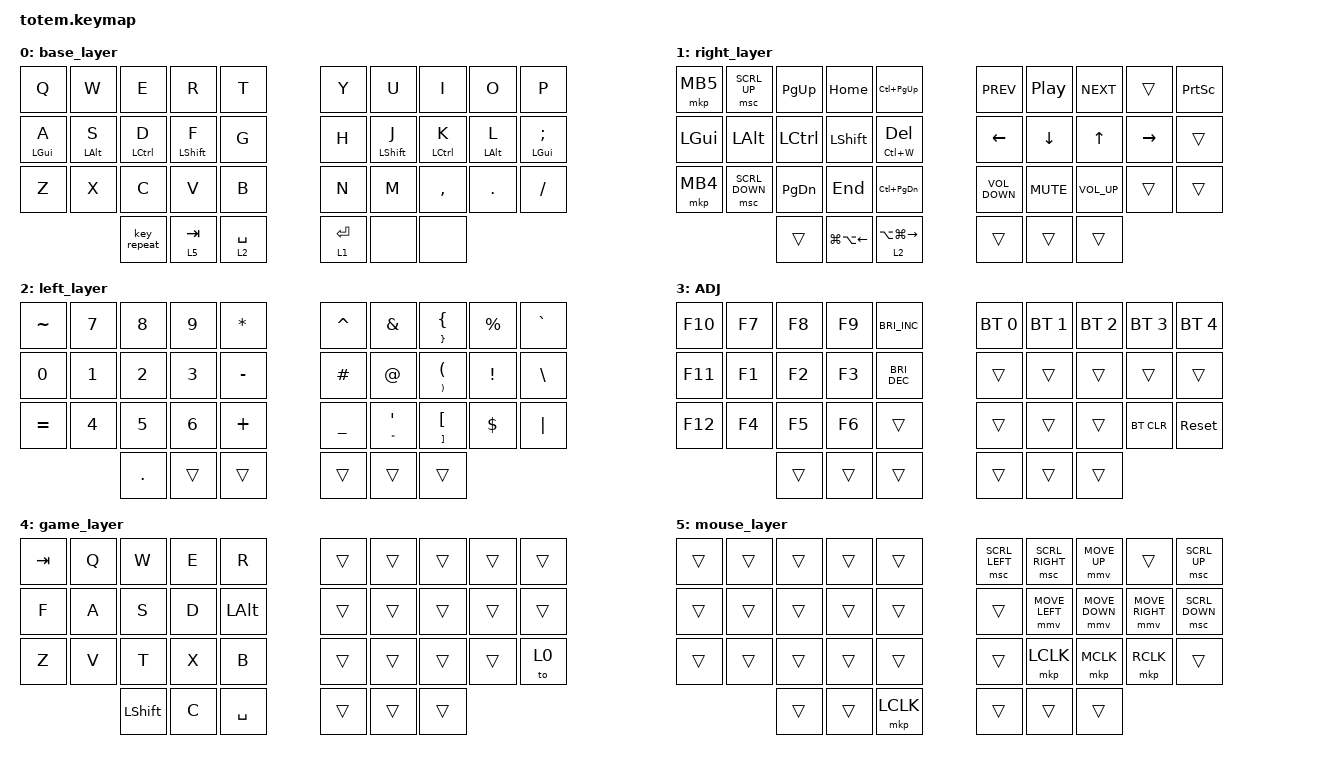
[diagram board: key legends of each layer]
//
//                                                        ▀▀▀▀▀     ▀▀▀▀▀          ▀▀█▀▀
//                                                        ▄▀▀▀▄  ▄  ▄▀▀▀▄  ▄  ▄▀▀▀▄  █  ▄▀▀▀▄
//                                                        █   █  █  █   █  █  █   █  █  █   █
//                                                         ▀▀▀   █   ▀▀▀   █   ▀▀▀   ▀   ▀▀▀
//                                                               █      ▄▄▄█▄▄▄    █   █  
//                                                               ▀      █  █  █     █▄█
//                                                             ▀▀▀▀▀    █  █  █      ▀
//                                                                      ▀  ▀  ▀
//
// ▄▄▄▄▄▄▄▄▄▄▄▄▄▄▄▄▄▄▄▄▄▄▄▄▄▄▄▄▄▄▄▄▄▄▄▄▄▄▄▄▄▄▄▄▄▄▄▄▄▄▄▄▄▄▄▄▄▄▄▄▄▄▄▄▄▄▄▄▄▄▄▄▄▄▄▄▄▄▄▄▄▄▄▄▄▄▄▄▄▄▄▄▄▄▄▄▄▄▄▄▄▄▄▄▄▄▄▄▄▄▄▄▄▄▄▄▄▄▄▄▄▄▄▄▄▄▄▄▄▄▄▄▄▄▄▄▄▄▄▄▄▄▄▄▄▄▄▄▄

#include <dt-bindings/zmk/mouse.h>
#include <behaviors.dtsi>
#include <dt-bindings/zmk/bt.h>
#include <dt-bindings/zmk/keys.h>
#include <dt-bindings/zmk/pointing.h>

&mt {
    quick-tap-ms = <100>;
    global-quick-tap;
    flavor = "tap-preferred";
    tapping-term-ms = <170>;
};

/ {
    behaviors {
        ht: hold_tap {
            compatible = "zmk,behavior-hold-tap";
            #binding-cells = <2>;
            flavor = "tap-preferred";
            tapping-term-ms = <220>;
            quick-tap-ms = <150>;
            require-prior-idle-ms = <100>;
            bindings = <&kp>, <&kp>;
        };

        htShift: htShift {
            compatible = "zmk,behavior-hold-tap";
            #binding-cells = <2>;
            flavor = "balanced";
            tapping-term-ms = <220>;
            quick-tap-ms = <150>;
            require-prior-idle-ms = <100>;
            bindings = <&kp>, <&kp>;

            label = "HTSHIFT";
        };

        HMShiftR: HMShiftR {
            compatible = "zmk,behavior-hold-tap";
            label = "HMSHIFTR";
            #binding-cells = <2>;
            bindings = <&kp>, <&kp>;

            tapping-term-ms = <200>;
            hold-trigger-key-positions = <0 1 2 3 4 10 11 12 13 14 20 21 22 23 24 30 31 32>;
            hold-trigger-on-release;
        };

        HMShiftL: HMShiftL {
            compatible = "zmk,behavior-hold-tap";
            label = "HMSHIFTL";
            #binding-cells = <2>;
            bindings = <&kp>, <&kp>;

            tapping-term-ms = <200>;
            hold-trigger-on-release;
            hold-trigger-key-positions = <5 6 7 8 9 15 16 17 18 19 25 26 27 28 29 33 34 35>;
        };

        HMR: HMR {
            compatible = "zmk,behavior-hold-tap";
            label = "HMR";
            #binding-cells = <2>;
            bindings = <&kp>, <&kp>;

            tapping-term-ms = <200>;
            hold-trigger-key-positions = <0 1 2 3 4 10 11 12 13 14 20 21 22 23 24 30 31 32>;
            hold-trigger-on-release;
            flavor = "tap-preferred";
        };

        HML: HML {
            compatible = "zmk,behavior-hold-tap";
            label = "HML";
            #binding-cells = <2>;
            bindings = <&kp>, <&kp>;

            tapping-term-ms = <200>;
            hold-trigger-on-release;
            hold-trigger-key-positions = <5 6 7 8 9 15 16 17 18 19 25 26 27 28 29 33 34 35 32>;
            flavor = "tap-preferred";
        };
    };

    conditional_layers {
        compatible = "zmk,conditional-layers";

        layer_3 {
            if-layers = <2 1>;
            then-layer = <3>;
        };
    };

    combos {
        compatible = "zmk,combos";

        escape {
            bindings = <&kp ESCAPE>;
            key-positions = <2 3>;
        };

        backspace {
            bindings = <&kp BACKSPACE>;
            key-positions = <6 7>;
        };

        game_layer {
            bindings = <&to 4>;
            key-positions = <24 25>;
        };
    };

    keymap {
        compatible = "zmk,keymap";

        // ▄▄▄▄▄▄▄▄▄▄▄▄▄▄▄▄▄▄▄▄▄▄▄▄▄▄▄▄▄▄▄▄▄▄▄▄▄▄▄▄▄▄▄▄▄▄▄▄▄▄▄▄▄▄▄▄▄▄▄▄▄▄▄▄▄▄▄▄▄▄▄▄▄▄▄▄▄▄▄▄▄▄▄▄▄▄▄▄▄▄▄▄▄▄▄▄▄▄▄▄▄▄▄▄▄▄▄▄▄▄▄▄▄▄▄▄▄▄▄▄▄▄▄▄▄▄▄▄▄▄▄▄▄▄▄▄▄▄▄▄▄▄▄▄▄▄▄▄▄

        base_layer {
            // ┏━━━━━━━━━━━━━━━━━━━━━━━━━━━━━━━━━━━━━━━┓
            // ┗━━━━━━━━━━━━━━━━━━━━━━━━━━━━━━━━━━━━━━━┛
            //             ┏━━━━━━━━━━━┳━━━━━━━━━━━┳━━━━━━━━━━━┳━━━━━━━━━━━┳━━━━━━━━━━━┓   ┏━━━━━━━━━━━┳━━━━━━━━━━━┳━━━━━━━━━━━┳━━━━━━━━━━━┳━━━━━━━━━━━┓
            //             ┃     Q     ┃     W     ┃     F     ┃     P     ┃     G     ┃   ┃     J     ┃     L     ┃     U     ┃     Y     ┃     ;     ┃
            //             ┣━━━━━━━━━━━╋━━━━━━━━━━━╋━━━━━━━━━━━╋━━━━━━━━━━━╋━━━━━━━━━━━┫   ┣━━━━━━━━━━━╋━━━━━━━━━━━╋━━━━━━━━━━━╋━━━━━━━━━━━╋━━━━━━━━━━━┫
            //             ┃     A     ┃     R     ┃     S     ┃     T     ┃     D     ┃   ┃     H     ┃     N     ┃     E     ┃     I     ┃     O     ┃
            //             ┏━━━━━━━━━━━╋━━━━━━━━━━━╋━━━━━━━━━━━╋━━━━━━━━━━━╋━━━━━━━━━━━┫   ┣━━━━━━━━━━━╋━━━━━━━━━━━╋━━━━━━━━━━━╋━━━━━━━━━━━╋━━━━━━━━━━━╋
            //             ┃     Z     ┃     X     ┃     C     ┃     V     ┃     B     ┃   ┃     K     ┃     M     ┃     ,     ┃     .     ┃     /     ┃   
            //             ┗━━━━━━━━━━━┻━━━━━━━━━━━╋━━━━━━━━━━━╋━━━━━━━━━━━╋━━━━━━━━━━━┫   ┣━━━━━━━━━━━╋━━━━━━━━━━━╋━━━━━━━━━━━╋━━━━━━━━━━━┻━━━━━━━━━━━┛
            //                                     ┃    DEL    ┃    TAB    ┃    SPC    ┃   ┃   ENTER   ┃           ┃   BSPC    ┃
            //                                     ┗━━━━━━━━━━━┻━━━━━━━━━━━┻━━━━━━━━━━━┛   ┗━━━━━━━━━━━┻━━━━━━━━━━━┻━━━━━━━━━━━┛

            bindings = <
  &kp Q            &kp W            &kp E                &kp R                   &kp T          &kp Y        &kp U                   &kp I                &kp O            &kp P
  &HML LEFT_GUI A  &HML LEFT_ALT S  &HML LEFT_CONTROL D  &HMShiftL LEFT_SHIFT F  &kp G          &kp H        &HMShiftR LEFT_SHIFT J  &HMR LEFT_CONTROL K  &HMR LEFT_ALT L  &HMR LEFT_GUI SEMICOLON
  &kp Z            &kp X            &kp C                &kp V                   &kp B          &kp N        &kp M                   &kp COMMA            &kp DOT          &kp FSLH
                                    &key_repeat          &lt 5 TAB               &lt 2 SPACE    &lt 1 ENTER  &none                   &none
            >;
        };

        // ▄▄▄▄▄▄▄▄▄▄▄▄▄▄▄▄▄▄▄▄▄▄▄▄▄▄▄▄▄▄▄▄▄▄▄▄▄▄▄▄▄▄▄▄▄▄▄▄▄▄▄▄▄▄▄▄▄▄▄▄▄▄▄▄▄▄▄▄▄▄▄▄▄▄▄▄▄▄▄▄▄▄▄▄▄▄▄▄▄▄▄▄▄▄▄▄▄▄▄▄▄▄▄▄▄▄▄▄▄▄▄▄▄▄▄▄▄▄▄▄▄▄▄▄▄▄▄▄▄▄▄▄▄▄▄▄▄▄▄▄▄▄▄▄▄▄▄▄▄

        right_layer {
            // ┏━━━━━━━━━━━━━━━━━━━━━━━━━━━━━━━━━━━━━━━┓
            // ┗━━━━━━━━━━━━━━━━━━━━━━━━━━━━━━━━━━━━━━━┛
            //             ┏━━━━━━━━━━━┳━━━━━━━━━━━┳━━━━━━━━━━━┳━━━━━━━━━━━┳━━━━━━━━━━━┓   ┏━━━━━━━━━━━┳━━━━━━━━━━━┳━━━━━━━━━━━┳━━━━━━━━━━━┳━━━━━━━━━━━┓
            //             ┃           ┃           ┃     UP    ┃           ┃     {     ┃   ┃     }     ┃     7     ┃     8     ┃     9     ┃     +     ┃
            //             ┣━━━━━━━━━━━╋━━━━━━━━━━━╋━━━━━━━━━━━╋━━━━━━━━━━━╋━━━━━━━━━━━┫   ┣━━━━━━━━━━━╋━━━━━━━━━━━╋━━━━━━━━━━━╋━━━━━━━━━━━╋━━━━━━━━━━━┫
            //             ┃   SHIFT   ┃   LEFT    ┃    DOWN   ┃   RIGHT   ┃     [     ┃   ┃     ]     ┃     4     ┃     5     ┃     6     ┃     -     ┃
            //             ╋━━━━━━━━━━━╋━━━━━━━━━━━╋━━━━━━━━━━━╋━━━━━━━━━━━╋━━━━━━━━━━━┫   ┣━━━━━━━━━━━╋━━━━━━━━━━━╋━━━━━━━━━━━╋━━━━━━━━━━━╋━━━━━━━━━━━╋
            //             ┃           ┃   P UP    ┃  C LOCK   ┃  P DOWN   ┃     (     ┃   ┃     )     ┃     1     ┃     2     ┃     3     ┃     *     ┃           
            //             ┗━━━━━━━━━━━┻━━━━━━━━━━━╋━━━━━━━━━━━╋━━━━━━━━━━━╋━━━━━━━━━━━┫   ┣━━━━━━━━━━━╋━━━━━━━━━━━╋━━━━━━━━━━━╋━━━━━━━━━━━┻━━━━━━━━━━━┛
            //                                     ┃           ┃    TAB    ┃    SPC    ┃   ┃    DEL    ┃     0     ┃           ┃
            //                                     ┗━━━━━━━━━━━┻━━━━━━━━━━━┻━━━━━━━━━━━┛   ┗━━━━━━━━━━━┻━━━━━━━━━━━┻━━━━━━━━━━━┛

            bindings = <
  &mkp MB5  &msc SCRL_UP    &kp PAGE_UP    &kp HOME                &kp LC(PAGE_UP)        &kp C_PREV         &kp C_PLAY_PAUSE  &kp C_NEXT       &trans     &kp PRINTSCREEN
  &kp LGUI  &kp LALT        &kp LCTRL      &kp LSHFT               &mt LC(W) DELETE       &kp LEFT           &kp DOWN          &kp UP           &kp RIGHT  &trans
  &mkp MB4  &msc SCRL_DOWN  &kp PAGE_DOWN  &kp END                 &kp LC(PAGE_DOWN)      &kp C_VOLUME_DOWN  &kp K_MUTE        &kp C_VOLUME_UP  &trans     &trans
                            &trans         &kp LG(LA(LEFT_ARROW))  &lt 2 LA(LG(RIGHT))    &trans             &trans            &trans
            >;
        };

        // ▄▄▄▄▄▄▄▄▄▄▄▄▄▄▄▄▄▄▄▄▄▄▄▄▄▄▄▄▄▄▄▄▄▄▄▄▄▄▄▄▄▄▄▄▄▄▄▄▄▄▄▄▄▄▄▄▄▄▄▄▄▄▄▄▄▄▄▄▄▄▄▄▄▄▄▄▄▄▄▄▄▄▄▄▄▄▄▄▄▄▄▄▄▄▄▄▄▄▄▄▄▄▄▄▄▄▄▄▄▄▄▄▄▄▄▄▄▄▄▄▄▄▄▄▄▄▄▄▄▄▄▄▄▄▄▄▄▄▄▄▄▄▄▄▄▄▄▄▄

        left_layer {
            // ┏━━━━━━━━━━━━━━━━━━━━━━━━━━━━━━━━━━━━━━━┓
            // ┗━━━━━━━━━━━━━━━━━━━━━━━━━━━━━━━━━━━━━━━┛
            //             ┏━━━━━━━━━━━┳━━━━━━━━━━━┳━━━━━━━━━━━┳━━━━━━━━━━━┳━━━━━━━━━━━┓   ┏━━━━━━━━━━━┳━━━━━━━━━━━┳━━━━━━━━━━━┳━━━━━━━━━━━┳━━━━━━━━━━━┓
            //             ┃     !     ┃     @     ┃     #     ┃     $     ┃     %     ┃   ┃     ˆ     ┃     &     ┃     Ü     ┃     '     ┃     "     ┃
            //             ┣━━━━━━━━━━━╋━━━━━━━━━━━╋━━━━━━━━━━━╋━━━━━━━━━━━╋━━━━━━━━━━━┫   ┣━━━━━━━━━━━╋━━━━━━━━━━━╋━━━━━━━━━━━╋━━━━━━━━━━━╋━━━━━━━━━━━┫
            //             ┃     Ä     ┃           ┃    SZ     ┃           ┃           ┃   ┃   MUTE    ┃   YEN     ┃   EURO    ┃  POUND    ┃     Ö     ┃
            //             ╋━━━━━━━━━━━╋━━━━━━━━━━━╋━━━━━━━━━━━╋━━━━━━━━━━━╋━━━━━━━━━━━┫   ┣━━━━━━━━━━━╋━━━━━━━━━━━╋━━━━━━━━━━━╋━━━━━━━━━━━╋━━━━━━━━━━━╋
            //             ┃  EMAIL1   ┃  EMAIL2   ┃           ┃           ┃           ┃   ┃   VOL-    ┃   VOL+    ┃   LAST    ┃   NEXT    ┃     \     ┃           
            //             ┗━━━━━━━━━━━┻━━━━━━━━━━━╋━━━━━━━━━━━╋━━━━━━━━━━━╋━━━━━━━━━━━┫   ┣━━━━━━━━━━━╋━━━━━━━━━━━╋━━━━━━━━━━━╋━━━━━━━━━━━┻━━━━━━━━━━━┛
            //                                     ┃           ┃    GIF    ┃    ADJ    ┃   ┃           ┃           ┃           ┃
            //                                     ┗━━━━━━━━━━━┻━━━━━━━━━━━┻━━━━━━━━━━━┛   ┗━━━━━━━━━━━┻━━━━━━━━━━━┻━━━━━━━━━━━┛

            bindings = <
  &kp TILDE  &kp N7  &kp N8   &kp N9  &kp STAR     &kp CARET       &kp AMPERSAND                 &mt RIGHT_BRACE LEFT_BRACE              &kp PERCENT      &kp GRAVE
  &kp N0     &kp N1  &kp N2   &kp N3  &kp MINUS    &kp POUND       &kp AT_SIGN                   &mt RIGHT_PARENTHESIS LEFT_PARENTHESIS  &kp EXCLAMATION  &kp BACKSLASH
  &kp EQUAL  &kp N4  &kp N5   &kp N6  &kp PLUS     &kp UNDERSCORE  &mt DOUBLE_QUOTES APOSTROPHE  &mt RIGHT_BRACKET LEFT_BRACKET          &kp DOLLAR       &kp PIPE
                     &kp DOT  &trans  &trans       &trans          &trans                        &trans
            >;
        };

        // ▄▄▄▄▄▄▄▄▄▄▄▄▄▄▄▄▄▄▄▄▄▄▄▄▄▄▄▄▄▄▄▄▄▄▄▄▄▄▄▄▄▄▄▄▄▄▄▄▄▄▄▄▄▄▄▄▄▄▄▄▄▄▄▄▄▄▄▄▄▄▄▄▄▄▄▄▄▄▄▄▄▄▄▄▄▄▄▄▄▄▄▄▄▄▄▄▄▄▄▄▄▄▄▄▄▄▄▄▄▄▄▄▄▄▄▄▄▄▄▄▄▄▄▄▄▄▄▄▄▄▄▄▄▄▄▄▄▄▄▄▄▄▄▄▄▄▄▄▄

        tri_layer {
            // ┏━━━━━━━━━━━━━━━━━━━━━━━━━━━━━━━━━━━━━━━┓

            label = "ADJ";

            // ┗━━━━━━━━━━━━━━━━━━━━━━━━━━━━━━━━━━━━━━━┛
            //             ┏━━━━━━━━━━━┳━━━━━━━━━━━┳━━━━━━━━━━━┳━━━━━━━━━━━┳━━━━━━━━━━━┓   ┏━━━━━━━━━━━┳━━━━━━━━━━━┳━━━━━━━━━━━┳━━━━━━━━━━━┳━━━━━━━━━━━┓
            //             ┃   RESET   ┃ BT CLEAR  ┃  OUT TOG  ┃           ┃           ┃   ┃           ┃    F7     ┃    F8     ┃    F9     ┃    F12    ┃
            //             ┣━━━━━━━━━━━╋━━━━━━━━━━━╋━━━━━━━━━━━╋━━━━━━━━━━━╋━━━━━━━━━━━┫   ┣━━━━━━━━━━━╋━━━━━━━━━━━╋━━━━━━━━━━━╋━━━━━━━━━━━╋━━━━━━━━━━━┫
            //             ┃ BOOTLOAD  ┃ BT NEXT   ┃           ┃           ┃           ┃   ┃           ┃    F4     ┃    F5     ┃    F6     ┃    F11    ┃
            //             ╋━━━━━━━━━━━╋━━━━━━━━━━━╋━━━━━━━━━━━╋━━━━━━━━━━━╋━━━━━━━━━━━┫   ┣━━━━━━━━━━━╋━━━━━━━━━━━╋━━━━━━━━━━━╋━━━━━━━━━━━╋━━━━━━━━━━━╋
            //             ┃           ┃ BT PREV   ┃           ┃           ┃           ┃   ┃           ┃    F1     ┃    F2     ┃    F3     ┃    F10    ┃           
            //             ┗━━━━━━━━━━━┻━━━━━━━━━━━╋━━━━━━━━━━━╋━━━━━━━━━━━╋━━━━━━━━━━━┫   ┣━━━━━━━━━━━╋━━━━━━━━━━━╋━━━━━━━━━━━╋━━━━━━━━━━━┻━━━━━━━━━━━┛
            //                                     ┃           ┃           ┃           ┃   ┃           ┃           ┃           ┃
            //                                     ┗━━━━━━━━━━━┻━━━━━━━━━━━┻━━━━━━━━━━━┛   ┗━━━━━━━━━━━┻━━━━━━━━━━━┻━━━━━━━━━━━┛

            bindings = <
  &kp F10  &kp F7  &kp F8  &kp F9  &kp C_BRIGHTNESS_INC    &bt BT_SEL 0  &bt BT_SEL 1  &bt BT_SEL 2  &bt BT_SEL 3  &bt BT_SEL 4
  &kp F11  &kp F1  &kp F2  &kp F3  &kp C_BRIGHTNESS_DEC    &trans        &trans        &trans        &trans        &trans
  &kp F12  &kp F4  &kp F5  &kp F6  &trans                  &trans        &trans        &trans        &bt BT_CLR    &sys_reset
                   &trans  &trans  &trans                  &trans        &trans        &trans
            >;
        };

        // ▄▄▄▄▄▄▄▄▄▄▄▄▄▄▄▄▄▄▄▄▄▄▄▄▄▄▄▄▄▄▄▄▄▄▄▄▄▄▄▄▄▄▄▄▄▄▄▄▄▄▄▄▄▄▄▄▄▄▄▄▄▄▄▄▄▄▄▄▄▄▄▄▄▄▄▄▄▄▄▄▄▄▄▄▄▄▄▄▄▄▄▄▄▄▄▄▄▄▄▄▄▄▄▄▄▄▄▄▄▄▄▄▄▄▄▄▄▄▄▄▄▄▄▄▄▄▄▄▄▄▄▄▄▄▄▄▄▄▄▄▄▄▄▄▄▄▄▄▄

        game_layer {
            // ┏━━━━━━━━━━━━━━━━━━━━━━━━━━━━━━━━━━━━━━━┓
            // ┗━━━━━━━━━━━━━━━━━━━━━━━━━━━━━━━━━━━━━━━┛
            //             ┏━━━━━━━━━━━┳━━━━━━━━━━━┳━━━━━━━━━━━┳━━━━━━━━━━━┳━━━━━━━━━━━┓   ┏━━━━━━━━━━━┳━━━━━━━━━━━┳━━━━━━━━━━━┳━━━━━━━━━━━┳━━━━━━━━━━━┓
            //             ┃ NEXT FILE ┃ MARK IN   ┃ ROTATE    ┃ MARK OUT  ┃ SHOW SNAP ┃   ┃           ┃           ┃           ┃           ┃           ┃
            //             ┣━━━━━━━━━━━╋━━━━━━━━━━━╋━━━━━━━━━━━╋━━━━━━━━━━━╋━━━━━━━━━━━┫   ┣━━━━━━━━━━━╋━━━━━━━━━━━╋━━━━━━━━━━━╋━━━━━━━━━━━╋━━━━━━━━━━━┫
            //             ┃ TVP II    ┃ LEFT      ┃ PAN       ┃ RIGHT     ┃ PLAY/FLIP ┃   ┃           ┃           ┃           ┃           ┃           ┃
            //             ╋━━━━━━━━━━━╋━━━━━━━━━━━╋━━━━━━━━━━━╋━━━━━━━━━━━╋━━━━━━━━━━━┫   ┣━━━━━━━━━━━╋━━━━━━━━━━━╋━━━━━━━━━━━╋━━━━━━━━━━━╋━━━━━━━━━━━╋
            //             ┃ SHIFT     ┃ COPY      ┃ DELETE    ┃ PASTE     ┃ IMG MARK  ┃   ┃           ┃           ┃           ┃           ┃           ┃     
            //             ┗━━━━━━━━━━━┻━━━━━━━━━━━╋━━━━━━━━━━━╋━━━━━━━━━━━╋━━━━━━━━━━━┫   ┣━━━━━━━━━━━╋━━━━━━━━━━━╋━━━━━━━━━━━╋━━━━━━━━━━━┻━━━━━━━━━━━┛
            //                                     ┃           ┃ UNDO/SAVE ┃  SEL/MOV  ┃   ┃           ┃           ┃           ┃
            //                                     ┗━━━━━━━━━━━┻━━━━━━━━━━━┻━━━━━━━━━━━┛   ┗━━━━━━━━━━━┻━━━━━━━━━━━┻━━━━━━━━━━━┛

            bindings = <
  &kp TAB  &kp Q  &kp W           &kp E  &kp R           &trans  &trans  &trans  &trans  &trans
  &kp F    &kp A  &kp S           &kp D  &kp LEFT_ALT    &trans  &trans  &trans  &trans  &trans
  &kp Z    &kp V  &kp T           &kp X  &kp B           &trans  &trans  &trans  &trans  &to 0
                  &kp LEFT_SHIFT  &kp C  &kp SPACE       &trans  &trans  &trans
            >;
        };

        // ▄▄▄▄▄▄▄▄▄▄▄▄▄▄▄▄▄▄▄▄▄▄▄▄▄▄▄▄▄▄▄▄▄▄▄▄▄▄▄▄▄▄▄▄▄▄▄▄▄▄▄▄▄▄▄▄▄▄▄▄▄▄▄▄▄▄▄▄▄▄▄▄▄▄▄▄▄▄▄▄▄▄▄▄▄▄▄▄▄▄▄▄▄▄▄▄▄▄▄▄▄▄▄▄▄▄▄▄▄▄▄▄▄▄▄▄▄▄▄▄▄▄▄▄▄▄▄▄▄▄▄▄▄▄▄▄▄▄▄▄▄▄▄▄▄▄▄▄▄

        mouse_layer {
            // ┏━━━━━━━━━━━━━━━━━━━━━━━━━━━━━━━━━━━━━━━┓
            // ┗━━━━━━━━━━━━━━━━━━━━━━━━━━━━━━━━━━━━━━━┛
            //             ┏━━━━━━━━━━━┳━━━━━━━━━━━┳━━━━━━━━━━━┳━━━━━━━━━━━┳━━━━━━━━━━━┓   ┏━━━━━━━━━━━┳━━━━━━━━━━━┳━━━━━━━━━━━┳━━━━━━━━━━━┳━━━━━━━━━━━┓
            //             ┃ SOLO      ┃ TOGGLE IN ┃ RESET ROT ┃ TOGGLE OUT┃ TAKE SNAP ┃   ┃           ┃           ┃           ┃           ┃           ┃
            //             ┣━━━━━━━━━━━╋━━━━━━━━━━━╋━━━━━━━━━━━╋━━━━━━━━━━━╋━━━━━━━━━━━┫   ┣━━━━━━━━━━━╋━━━━━━━━━━━╋━━━━━━━━━━━╋━━━━━━━━━━━╋━━━━━━━━━━━┫
            //             ┃ ---       ┃ LAST KEY  ┃ NEW KEY   ┃ NEXT KEY  ┃ ENTER     ┃   ┃           ┃           ┃           ┃           ┃           ┃
            //             ╋━━━━━━━━━━━╋━━━━━━━━━━━╋━━━━━━━━━━━╋━━━━━━━━━━━╋━━━━━━━━━━━┫   ┣━━━━━━━━━━━╋━━━━━━━━━━━╋━━━━━━━━━━━╋━━━━━━━━━━━╋━━━━━━━━━━━╋
            //             ┃ FULLSCR   ┃ CPY2BRUSH ┃ DEL HEAD  ┃ PSTinPLACE┃ BOOK MARK ┃   ┃           ┃           ┃           ┃           ┃           ┃  
            //             ┗━━━━━━━━━━━┻━━━━━━━━━━━╋━━━━━━━━━━━╋━━━━━━━━━━━╋━━━━━━━━━━━┫   ┣━━━━━━━━━━━╋━━━━━━━━━━━╋━━━━━━━━━━━╋━━━━━━━━━━━┻━━━━━━━━━━━┛
            //                                     ┃           ┃ REDO/SAV1 ┃TRANS/WARP ┃   ┃           ┃           ┃           ┃
            //                                     ┗━━━━━━━━━━━┻━━━━━━━━━━━┻━━━━━━━━━━━┛   ┗━━━━━━━━━━━┻━━━━━━━━━━━┻━━━━━━━━━━━┛

            bindings = <
  &trans  &trans  &trans  &trans  &trans       &msc SCRL_LEFT  &msc SCRL_RIGHT  &mmv MOVE_UP    &trans           &msc SCRL_UP
  &trans  &trans  &trans  &trans  &trans       &trans          &mmv MOVE_LEFT   &mmv MOVE_DOWN  &mmv MOVE_RIGHT  &msc SCRL_DOWN
  &trans  &trans  &trans  &trans  &trans       &trans          &mkp LCLK        &mkp MCLK       &mkp RCLK        &trans
                  &trans  &trans  &mkp LCLK    &trans          &trans           &trans
            >;
        };
    };
};
